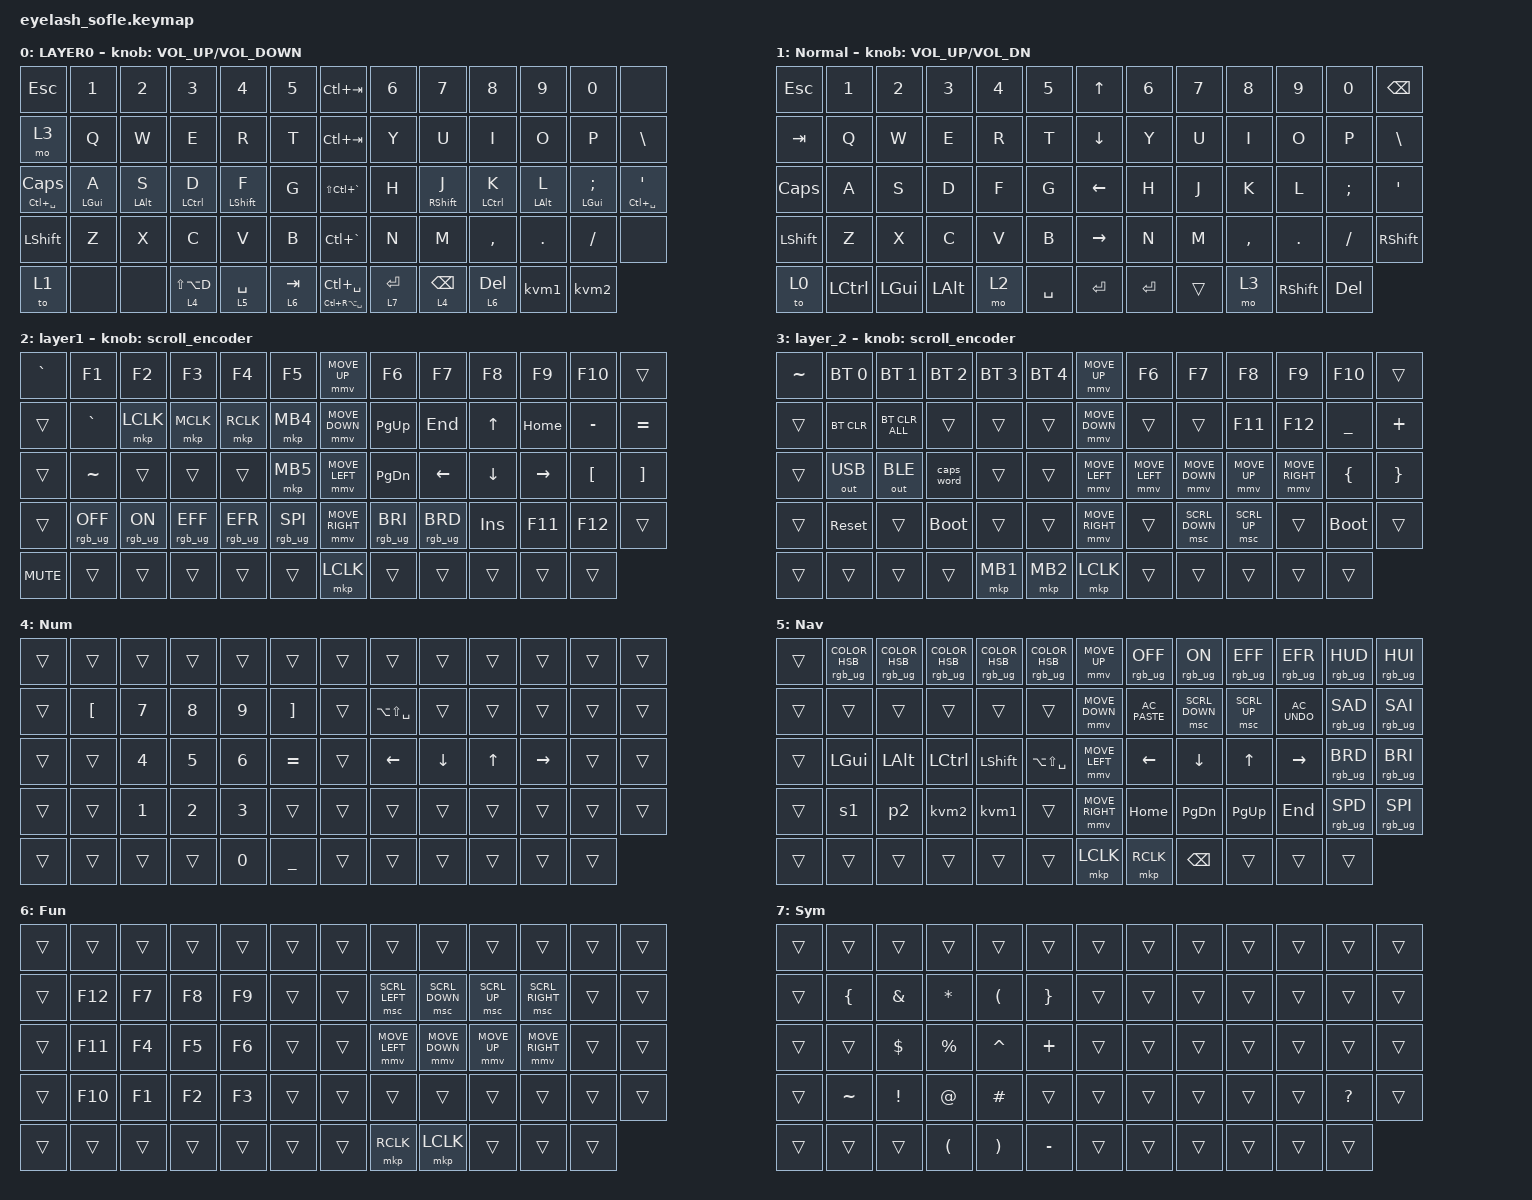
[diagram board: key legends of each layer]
#define ZMK_POINTING_DEFAULT_MOVE_VAL 800
#define ZMK_POINTING_DEFAULT_SCRL_VAL 25

#include <input/processors.dtsi>
#include <zephyr/dt-bindings/input/input-event-codes.h>
#include <behaviors.dtsi>
#include <dt-bindings/zmk/bt.h>
#include <dt-bindings/zmk/keys.h>
#include <dt-bindings/zmk/outputs.h>
#include <dt-bindings/zmk/pointing.h>
#include <dt-bindings/zmk/rgb.h>

&mmv_input_listener { input-processors = <&zip_xy_scaler 3 3>; };

&msc {
};

&mmv {
    time-to-max-speed-ms = <150>;
    trigger-period-ms = <1>;
};

&lt {
    tapping-term-ms = <180>;  // LT의 tapping-term을 hm보다 짧게 설정
};

/ {
    //debounce-press-ms = <10>;
    // debounce-release-ms = <10>;

    scroll_encoder: scroll_encoder {
        compatible = "zmk,behavior-sensor-rotate";
        #sensor-binding-cells = <0>;
        bindings = <&msc SCRL_DOWN>, <&msc SCRL_UP>;

        tap-ms = <100>;
    };

    behaviors {
        lh_pht: left_positional_hold_tap {
            compatible = "zmk,behavior-hold-tap";
            #binding-cells = <2>;
            flavor = "tap-unless-interrupted";
            tapping-term-ms = <100>;                        // <---[[produces tap if held longer than tapping-term-ms]]
            quick-tap-ms = <200>;
            bindings = <&kp>, <&kp>;
        };

        //hm: homerow_mods {
        //  compatible = "zmk,behavior-hold-tap";
        //#binding-cells = <2>;
        //tapping-term-ms = <150>;
        ////quick-tap-ms = <70>;
        //flavor = "tap-preferred";
        //bindings = <&kp>, <&kp>;
        //per-key-repeat = <1>;
        //};
        //hm: homerow_mods {
        //  compatible = "zmk,behavior-hold-tap";
        //  #binding-cells = <2>;
        //  bindings = <&kp>, <&kp>;
        //  flavor = "tap-preferred";
        //  tapping-term-ms = <300>;
        //  quick-tap-ms = <0>;
        //};

        hm: homerow_mods {
            compatible = "zmk,behavior-hold-tap";
            #binding-cells = <2>;
            bindings = <&kp>, <&kp>;

            flavor = "tap-preferred";
            tapping-term-ms = <170>;
            quick-tap-ms = <140>;

            //hold-trigger-key-positions = <15 16 17 18 31 32 33 34>;
            // 일단 제거
        };

        hmrs: hmrs {
            compatible = "zmk,behavior-hold-tap";
            #binding-cells = <2>;
            bindings = <&kp>, <&kp>;

            flavor = "tap-preferred";
            tapping-term-ms = <200>;
            quick-tap-ms = <0>;
            label = "HMRS";
        };
    };

    combos {
        compatible = "zmk,combos";

        copy {
            bindings = <&kp LC(C)>;
            key-positions = <42 41>;
        };

        paste {
            bindings = <&kp LC(V)>;
            key-positions = <42 43>;
        };

        rcopy {
            bindings = <&kp LC(C)>;
            key-positions = <49 48>;
        };

        rpaste {
            bindings = <&kp LC(V)>;
            key-positions = <47 48>;
        };

        language {
            bindings = <&kp CAPSLOCK>;
            key-positions = <28 29>;
        };

        spot {
            bindings = <&kp RG(SPACE)>;
            key-positions = <36 35 36>;
        };

        right-esc {
            bindings = <&kp ESCAPE>;
            key-positions = <22 23>;
        };

        rlanguage {
            bindings = <&kp CAPSLOCK>;
            key-positions = <35 36>;
        };

        esc {
            bindings = <&kp ESCAPE>;
            key-positions = <15 16>;
        };
    };

    macros {
        kvm1: kvm1 {
            compatible = "zmk,behavior-macro";
            #binding-cells = <0>;
            bindings =
                <&macro_press>,
                <&kp KP_ASTERISK>,
                <&macro_press>,
                <&kp KP_NUMBER_1>,
                <&macro_release>,
                <&kp KP_ASTERISK>,
                <&macro_release>,
                <&kp KP_NUMBER_1>;

            label = "KVM1";
        };

        kvm2: kvm2 {
            compatible = "zmk,behavior-macro";
            #binding-cells = <0>;
            bindings =
                <&macro_press>,
                <&kp KP_ASTERISK>,
                <&macro_press>,
                <&kp KP_NUMBER_2>,
                <&macro_release>,
                <&kp KP_ASTERISK>,
                <&macro_release>,
                <&kp KP_NUMBER_2>;

            label = "KVM2";
        };

        kvm3: kvm3 {
            compatible = "zmk,behavior-macro";
            #binding-cells = <0>;
            bindings =
                <&macro_press>,
                <&kp KP_ASTERISK>,
                <&macro_press>,
                <&kp KP_NUMBER_3>,
                <&macro_release>,
                <&kp KP_ASTERISK>,
                <&macro_release>,
                <&kp KP_NUMBER_3>;

            label = "KVM3";
        };

        s1: s1 {
            compatible = "zmk,behavior-macro";
            #binding-cells = <0>;
            bindings = <&kp S &kp A &kp M &kp S &kp U &kp N &kp G &kp N1 &kp EXCL>;
            label = "S1";
        };

        p2: p2 {
            compatible = "zmk,behavior-macro";
            #binding-cells = <0>;
            bindings = <&kp N1 &kp N9 &kp N6 &kp D &kp N0 &kp E &kp EXCL &kp DLLR &kp EXCL &kp DLLR>;
            label = "P2";
        };
    };

    keymap {
        compatible = "zmk,keymap";

        Default {
            display-name = "LAYER0";
            bindings = <
&kp ESCAPE          &kp N1          &kp N2          &kp N3           &kp N4          &kp N5       &kp LC(TAB)                  &kp N6       &kp N7           &kp N8        &kp N9          &kp N0             &none
&mo 3               &kp Q           &kp W           &kp E            &kp R           &kp T        &kp LC(TAB)                  &kp Y        &kp U            &kp I         &kp O           &kp P              &kp BSLH
&hm LC(SPACE) CAPS  &hm LEFT_GUI A  &hm LEFT_ALT S  &hm LCTRL D      &hmrs LSHIFT F  &kp G        &kp LS(LC(GRAVE))            &kp H        &hmrs RSHIFT J   &hm LCTRL K   &hm LEFT_ALT L  &hm LEFT_GUI SEMI  &hm LC(SPACE) APOS
&kp LSHFT           &kp Z           &kp X           &kp C            &kp V           &kp B        &kp LC(GRAVE)                &kp N        &kp M            &kp COMMA     &kp DOT         &kp FSLH           &none
&to 1               &none           &none           &lt 4 LS(LA(D))  &lt 5 SPACE     &lt 6 TAB    &mt LC(RA(SPACE)) LC(SPACE)  &lt 7 ENTER  &lt 4 BACKSPACE  &lt 6 DELETE  &kvm1           &kvm2
            >;

            sensor-bindings = <&inc_dec_kp C_VOLUME_UP C_VOLUME_DOWN>;
        };

        layer0 {
            bindings = <
&kp ESC    &kp N1     &kp N2        &kp N3        &kp N4  &kp N5       &kp UP_ARROW     &kp N6     &kp N7  &kp N8     &kp N9           &kp N0      &kp BACKSPACE
&kp TAB    &kp Q      &kp W         &kp E         &kp R   &kp T        &kp DOWN_ARROW   &kp Y      &kp U   &kp I      &kp O            &kp P       &kp BSLH
&kp CAPS   &kp A      &kp S         &kp D         &kp F   &kp G        &kp LEFT_ARROW   &kp H      &kp J   &kp K      &kp L            &kp SEMI    &kp APOS
&kp LSHFT  &kp Z      &kp X         &kp C         &kp V   &kp B        &kp RIGHT_ARROW  &kp N      &kp M   &kp COMMA  &kp DOT          &kp FSLH    &kp RIGHT_SHIFT
&to 0      &kp LCTRL  &kp LEFT_GUI  &kp LEFT_ALT  &mo 2   &kp SPACE    &kp ENTER        &kp ENTER  &trans  &mo 3      &kp RIGHT_SHIFT  &kp DELETE
            >;

            sensor-bindings = <&inc_dec_kp C_VOLUME_UP C_VOL_DN>;
            display-name = "Normal";
        };

        layer_1 {
            bindings = <
&kp GRAVE   &kp F1           &kp F2          &kp F3           &kp F4           &kp F5             &mmv MOVE_UP     &kp F6           &kp F7           &kp F8      &kp F9     &kp F10           &trans
&trans      &kp GRAVE        &mkp LCLK       &mkp MCLK        &mkp RCLK        &mkp MB4           &mmv MOVE_DOWN   &kp PG_UP        &kp END          &kp UP      &kp HOME   &kp MINUS         &kp EQUAL
&trans      &kp TILDE        &trans          &trans           &trans           &mkp MB5           &mmv MOVE_LEFT   &kp PG_DN        &kp LEFT         &kp DOWN    &kp RIGHT  &kp LEFT_BRACKET  &kp RIGHT_BRACKET
&trans      &rgb_ug RGB_OFF  &rgb_ug RGB_ON  &rgb_ug RGB_EFF  &rgb_ug RGB_EFR  &rgb_ug RGB_SPI    &mmv MOVE_RIGHT  &rgb_ug RGB_BRI  &rgb_ug RGB_BRD  &kp INSERT  &kp F11    &kp F12           &trans
&kp C_MUTE  &trans           &trans          &trans           &trans           &trans             &mkp LCLK        &trans           &trans           &trans      &trans     &trans
            >;

            display-name = "layer1";
            sensor-bindings = <&scroll_encoder>;
        };

        layer_2 {
            bindings = <
&kp TILDE  &bt BT_SEL 0  &bt BT_SEL 1    &bt BT_SEL 2  &bt BT_SEL 3  &bt BT_SEL 4    &mmv MOVE_UP     &kp F6          &kp F7          &kp F8        &kp F9           &kp F10      &trans
&trans     &bt BT_CLR    &bt BT_CLR_ALL  &trans        &trans        &trans          &mmv MOVE_DOWN   &trans          &trans          &kp F11       &kp F12          &kp UNDER    &kp PLUS
&trans     &out OUT_USB  &out OUT_BLE    &caps_word    &trans        &trans          &mmv MOVE_LEFT   &mmv MOVE_LEFT  &mmv MOVE_DOWN  &mmv MOVE_UP  &mmv MOVE_RIGHT  &kp LBRC     &kp RBRC
&trans     &sys_reset    &trans          &bootloader   &trans        &trans          &mmv MOVE_RIGHT  &trans          &msc SCRL_DOWN  &msc SCRL_UP  &trans           &bootloader  &trans
&trans     &trans        &trans          &trans        &mkp MB1      &mkp MB2        &mkp LCLK        &trans          &trans          &trans        &trans           &trans
            >;

            sensor-bindings = <&scroll_encoder>;
        };

        Num {
            bindings = <
&trans  &trans            &trans        &trans  &trans  &trans               &trans  &trans             &trans    &trans        &trans     &trans  &trans
&trans  &kp LEFT_BRACKET  &kp N7        &kp N8  &kp N9  &kp RIGHT_BRACKET    &trans  &kp LA(LS(SPACE))  &trans    &trans        &trans     &trans  &trans
&trans  &trans            &kp N4        &kp N5  &kp N6  &kp EQUAL            &trans  &kp LEFT_ARROW     &kp DOWN  &kp UP_ARROW  &kp RIGHT  &trans  &trans
&trans  &trans            &kp NUMBER_1  &kp N2  &kp N3  &trans               &trans  &trans             &trans    &trans        &trans     &trans  &trans
&trans  &trans            &trans        &trans  &kp N0  &kp UNDERSCORE       &trans  &trans             &trans    &trans        &trans     &trans
            >;
        };

        Nav {
            bindings = <
&trans  &rgb_ug RGB_COLOR_HSB(0,0,100)  &rgb_ug RGB_COLOR_HSB(70,98,50)  &rgb_ug RGB_COLOR_HSB(189,100,49)  &rgb_ug RGB_COLOR_HSB(109,100,50)  &rgb_ug RGB_COLOR_HSB(0,100,50)    &mmv MOVE_UP     &rgb_ug RGB_OFF  &rgb_ug RGB_ON  &rgb_ug RGB_EFF  &rgb_ug RGB_EFR  &rgb_ug RGB_HUD  &rgb_ug RGB_HUI
&trans  &trans                          &trans                           &trans                             &trans                             &trans                             &mmv MOVE_DOWN   &kp C_AC_PASTE   &msc SCRL_DOWN  &msc SCRL_UP     &kp C_AC_UNDO    &rgb_ug RGB_SAD  &rgb_ug RGB_SAI
&trans  &kp LEFT_GUI                    &kp LEFT_ALT                     &kp LCTRL                          &kp LEFT_SHIFT                     &kp LA(LS(SPACE))                  &mmv MOVE_LEFT   &kp LEFT_ARROW   &kp DOWN        &kp UP_ARROW     &kp RIGHT        &rgb_ug RGB_BRD  &rgb_ug RGB_BRI
&trans  &s1                             &p2                              &kvm2                              &kvm1                              &trans                             &mmv MOVE_RIGHT  &kp HOME         &kp PAGE_DOWN   &kp PAGE_UP      &kp END          &rgb_ug RGB_SPD  &rgb_ug RGB_SPI
&trans  &trans                          &trans                           &trans                             &trans                             &trans                             &mkp LCLK        &mkp RCLK        &kp BACKSPACE   &trans           &trans           &trans
            >;
        };

        Fun {
            bindings = <
&trans  &trans   &trans  &trans  &trans  &trans    &trans  &trans          &trans          &trans        &trans           &trans  &trans
&trans  &kp F12  &kp F7  &kp F8  &kp F9  &trans    &trans  &msc SCRL_LEFT  &msc SCRL_DOWN  &msc SCRL_UP  &msc SCRL_RIGHT  &trans  &trans
&trans  &kp F11  &kp F4  &kp F5  &kp F6  &trans    &trans  &mmv MOVE_LEFT  &mmv MOVE_DOWN  &mmv MOVE_UP  &mmv MOVE_RIGHT  &trans  &trans
&trans  &kp F10  &kp F1  &kp F2  &kp F3  &trans    &trans  &trans          &trans          &trans        &trans           &trans  &trans
&trans  &trans   &trans  &trans  &trans  &trans    &trans  &mkp RCLK       &mkp LCLK       &trans        &trans           &trans
            >;
        };

        Sym {
            bindings = <
&trans  &trans          &trans           &trans                &trans                 &trans             &trans  &trans  &trans  &trans  &trans  &trans        &trans
&trans  &kp LEFT_BRACE  &kp AMPERSAND    &kp ASTERISK          &kp LEFT_PARENTHESIS   &kp RIGHT_BRACE    &trans  &trans  &trans  &trans  &trans  &trans        &trans
&trans  &trans          &kp DOLLAR       &kp PERCENT           &kp CARET              &kp PLUS           &trans  &trans  &trans  &trans  &trans  &trans        &trans
&trans  &kp TILDE       &kp EXCLAMATION  &kp AT_SIGN           &kp HASH               &trans             &trans  &trans  &trans  &trans  &trans  &kp QUESTION  &trans
&trans  &trans          &trans           &kp LEFT_PARENTHESIS  &kp RIGHT_PARENTHESIS  &kp MINUS          &trans  &trans  &trans  &trans  &trans  &trans
            >;
        };
    };
};
